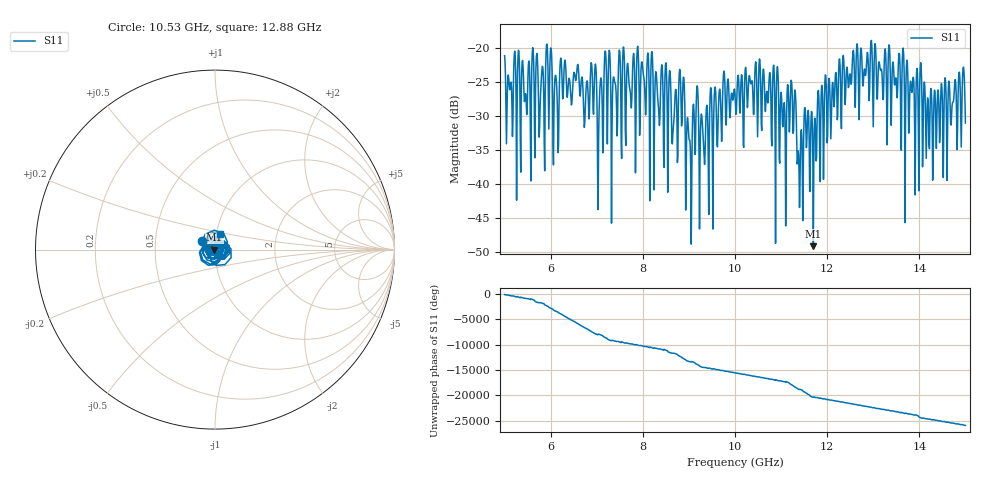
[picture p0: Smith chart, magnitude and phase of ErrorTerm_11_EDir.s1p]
!  1-Port S-parameters saved by WinCal
! VAR NAME=2-Port SOLT labuser 7
! VAR Error Term Name=EDir phys rcv port 1 phys src port 1
# Hz S RI R 50
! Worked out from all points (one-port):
!   1001 points, 5 GHz to 15 GHz, reference 50 ohm
!   lowest |S11| = -49.1 dB at 11.7 GHz (marker M1), VSWR 1.01, Z = 49.7 - j0.0115 ohm
!   |S11| at or under -10 dB: start of sweep to end of sweep
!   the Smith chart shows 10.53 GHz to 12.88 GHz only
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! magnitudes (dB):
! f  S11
! 5 GHz  -21.1
! 5.3 GHz  -20.3
! 5.96 GHz  -31.9
! 6.11 GHz  -24.0
! 6.25 GHz  -25.3
! 6.78 GHz  -25.0
! 6.93 GHz  -29.7
! 7.05 GHz  -29.4
! 7.22 GHz  -28.6
! 7.36 GHz  -24.2
! 7.5 GHz  -20.6
! 8.75 GHz  -36.8
! 8.85 GHz  -30.8
! 9.02 GHz  -33.5
! 9.15 GHz  -30.9
! 9.38 GHz  -28.7
! 10 GHz  -26.7
! 10.57 GHz  -31.1
! 11.07 GHz  -28.0
! 11.25 GHz  -29.2
! 11.43 GHz  -32.5
! 11.55 GHz  -34.6
! 11.7 GHz  -49.1
! 12 GHz  -33.9
! 12.5 GHz  -23.8
! 13.75 GHz  -23.8
! 14.26 GHz  -26.1
! 15 GHz  -31.0
